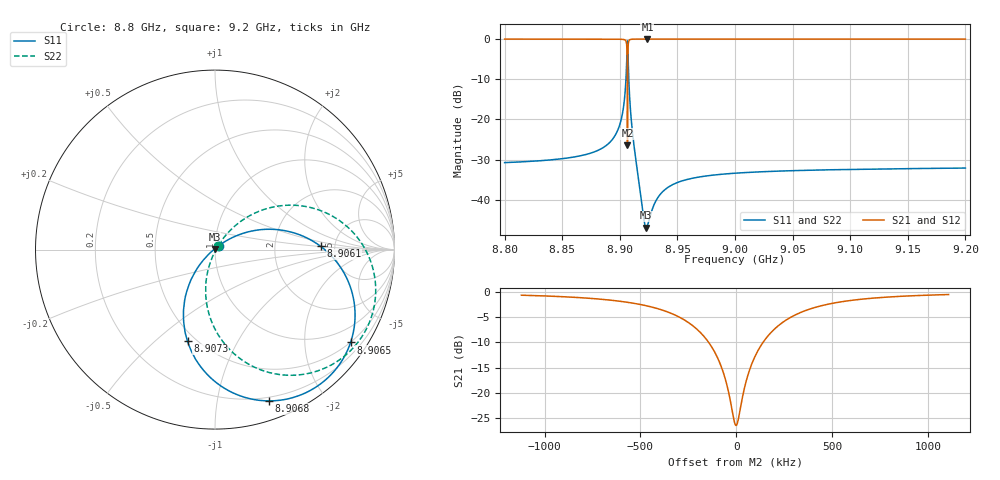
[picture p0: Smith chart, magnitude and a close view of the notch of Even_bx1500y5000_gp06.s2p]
! Sonnet Data File
! From: emgraph Version : 16.52
! From Project: Resonator2
! Data is De-embedded
! Data File Written: 10/04/2017 18:31:03
!< HDATE 10/04/2017 15:54:54
!< MDATE 10/04/2017 15:55:28
!< PARAMS
!< gap = 6.0
!< Length = 400.0
!< END PARAMS
# GHZ S MA R 50.00000
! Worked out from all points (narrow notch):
!   2192 points, 8.8 GHz to 9.2 GHz, reference 50 ohm
!   highest |S21| = 0.00 dB at 8.924 GHz (marker M1); lowest = -26.4 dB at 8.9067 GHz (marker M2)
!   notch at M2: 26.4 dB deep, 188 kHz wide at half that depth
!   lowest |S11| = -46.9 dB at 8.923 GHz (marker M3), VSWR 1.01, Z = 49.7 + j0.353 ohm
!   |S11| at or under -10 dB: start of sweep to 8.9053 GHz; 8.9078 GHz to end of sweep
!   |S22| runs from -46.8 to -0.4 dB; largest |S21 - S12| = 0
!   S11 on the Smith chart (normalised r, x): 8.8 GHz: 1.04, +0.04; 8.9061 GHz: 3.85, +0.22; 8.9065 GHz: 0.49, -3.16; 8.9068 GHz: 0.17, -1.41; 8.9073 GHz: 0.45, -0.64; 9.2 GHz: 1.03, +0.04
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8.8  0.02906 47.2  0.9996 -40.6  0.9996 -40.6  0.02906 51.6
!< P1 F=8.8 Eeff=(6.44890994 -2.9739e-5) Z0=(51.8068348 1.19496e-4) R=0.0 C=0.0
!< P2 F=8.8 Eeff=(6.44890994 -2.9739e-5) Z0=(51.8068348 1.19496e-4) R=0.0 C=0.0
8.86675  0.03556 44.9  0.9994 -41.3  0.9994 -41.3  0.03556 52.5
8.897984  0.07224 38.9  0.9973 -43.5  0.9973 -43.5  0.07225 53.9
8.904231  0.1898 29.5  0.9804 -50.4  0.9804 -50.4  0.1899 48.9
8.905485  0.3475 18.9  0.932 -59.8  0.932 -59.8  0.3476 39.7
8.906096  0.5889 1.8  0.7877 -75.5  0.7877 -75.5  0.5891 23.2
8.906376  0.7977 -17.1  0.5492 -92.2  0.5492 -92.2  0.7981 4.7
8.906538  0.9155 -34.4  0.28 -104.1  0.28 -104.1  0.916 -12.4
8.906663  0.9519 -50.6  0.04786 -38.2  0.04786 -38.2  0.9524 -28.4
8.90675  0.932 -62.2  0.2065 25.7  0.2065 25.7  0.9325 -39.9
8.906814  0.8957 -70.3  0.3394 23.1  0.3394 23.1  0.8961 -47.9
8.907274  0.533 -106.7  0.8276 -7.2  0.8276 -7.2  0.5332 -83.8
8.908504  0.193 -130.0  0.9788 -28.3  0.9788 -28.3  0.1931 -105.2
8.911517  0.05922 -141.2  0.9979 -36.1  0.9979 -36.1  0.05927 -110.3
8.92025  0.006702 177.6  0.9999 -39.2  0.9999 -39.2  0.006761 -75.5
8.923  0.004509 128.1  1 -39.5  1 -39.5  0.00457 -27.1
8.924  0.004772 110.3  1 -39.6  1 -39.6  0.004823 -9.7
8.9335  0.01092 63.3  0.9999 -40.1  0.9999 -40.1  0.01093 36.3
9  0.02145 50.2  0.9998 -41.1  0.9998 -41.1  0.02145 47.7
9.06675  0.0234 48.8  0.9997 -41.5  0.9997 -41.5  0.0234 48.3
9.1335  0.0243 48.1  0.9997 -41.8  0.9997 -41.8  0.0243 48.3
9.2  0.02486 47.5  0.9997 -42.1  0.9997 -42.1  0.02486 48.2
